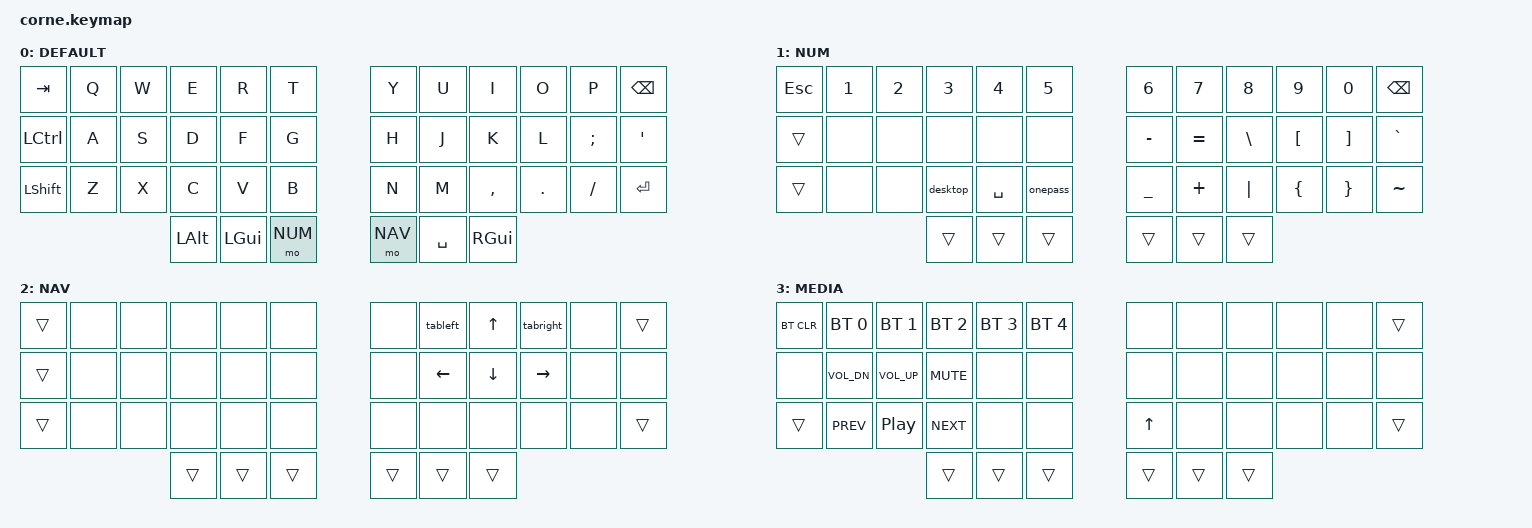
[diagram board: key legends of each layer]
/*
 * Copyright (c) 2020 The ZMK Contributors
 *
 * SPDX-License-Identifier: MIT
 */

#include <behaviors.dtsi>
#include <dt-bindings/zmk/keys.h>
#include <dt-bindings/zmk/bt.h>

#define DEFAULT 0
#define NUM 1
#define NAV 2
#define MEDIA 3

/ {
        conditional_layers {
            compatible = "zmk,conditional-layers";
            config_from_default {
                if-layers = <NUM NAV>;
                then-layer = <MEDIA>;
            };
        };

        macros {
                desktop: desktop {
                        label = "desktop";
                        compatible = "zmk,behavior-macro";
                        #binding-cells = <0>;
                        bindings
                                = <&macro_press &kp LCTRL>
                                , <&macro_tap &kp F11>
                                , <&macro_release &kp LCTRL>
                                ;
                };
                onepass: onepass {
                        label = "onepass";
                        compatible = "zmk,behavior-macro";
                        #binding-cells = <0>;
                        bindings
                                = <&macro_press &kp LGUI>
                                , <&macro_tap &kp BSLH>
                                , <&macro_release &kp LGUI>
                                ;
                };
                tabright: tabright {
                        label = "tabright";
                        compatible = "zmk,behavior-macro";
                        #binding-cells = <0>;
                        bindings
                                = <&macro_press &kp LGUI &kp LSHFT>
                                , <&macro_tap &kp RBKT>
                                , <&macro_release &kp LGUI &kp LSHFT>
                                ;
                };
                tableft: tableft {
                        label = "tableft";
                        compatible = "zmk,behavior-macro";
                        #binding-cells = <0>;
                        bindings
                                = <&macro_press &kp LGUI &kp LSHFT>
                                , <&macro_tap &kp LBKT>
                                , <&macro_release &kp LGUI &kp LSHFT>
                                ;
                };
        };

        keymap {
                compatible = "zmk,keymap";

                DEFAULT {
                        bindings = <
   &kp TAB   &kp Q &kp W &kp E &kp R &kp T      &kp Y   &kp U  &kp I     &kp O   &kp P    &kp BSPC
   &kp LCTRL &kp A &kp S &kp D &kp F &kp G      &kp H   &kp J  &kp K     &kp L   &kp SEMI &kp SQT
   &kp LSHFT &kp Z &kp X &kp C &kp V &kp B      &kp N   &kp M  &kp COMMA &kp DOT &kp FSLH &kp ENTER
                   &kp LALT &kp LGUI &mo NUM    &mo NAV &kp SPACE &kp RGUI
                        >;
                };
                num_layer {
                        label = "NUM";
                        bindings = <
   &kp ESC  &kp N1  &kp N2  &kp N3    &kp N4    &kp N5     &kp N6    &kp N7    &kp N8   &kp N9         &kp N0          &kp BSPC
   &trans   &none   &none   &none     &none     &none      &kp MINUS &kp EQUAL &kp BSLH &kp LBKT       &kp RBKT        &kp GRAVE
   &trans   &none   &none   &desktop  &kp SPACE &onepass   &kp UNDER &kp PLUS  &kp PIPE &kp LEFT_BRACE &kp RIGHT_BRACE &kp TILDE
                            &trans    &trans    &trans     &trans    &trans    &trans
                        >;
                };


                nav_layer {
                        label = "NAV";
                        bindings = <
   &trans &none &none &none  &none  &none          &none  &tableft &kp UP   &tabright &none &trans
   &trans &none &none &none  &none  &none          &none  &kp LEFT &kp DOWN &kp RIGHT &none &none
   &trans &none &none &none  &none  &none          &none  &none    &none    &none     &none &trans
                      &trans &trans &trans         &trans &trans   &trans
                        >;
                };
                media_layer {
                        label = "MEDIA";
                        bindings = <
   &bt BT_CLR &bt BT_SEL 0 &bt BT_SEL 1     &bt BT_SEL 2 &bt BT_SEL 3 &bt BT_SEL 4   &none  &none  &none &none &none &trans
   &none      &kp C_VOL_DN &kp C_VOL_UP     &kp K_MUTE   &none        &none          &none  &none  &none &none &none &none
   &trans     &kp C_PREV   &kp C_PLAY_PAUSE &kp C_NEXT   &none        &none          &kp UP &none  &none &none &none &trans
                                            &trans       &trans       &trans         &trans &trans &trans
                        >;
                };
        };

};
